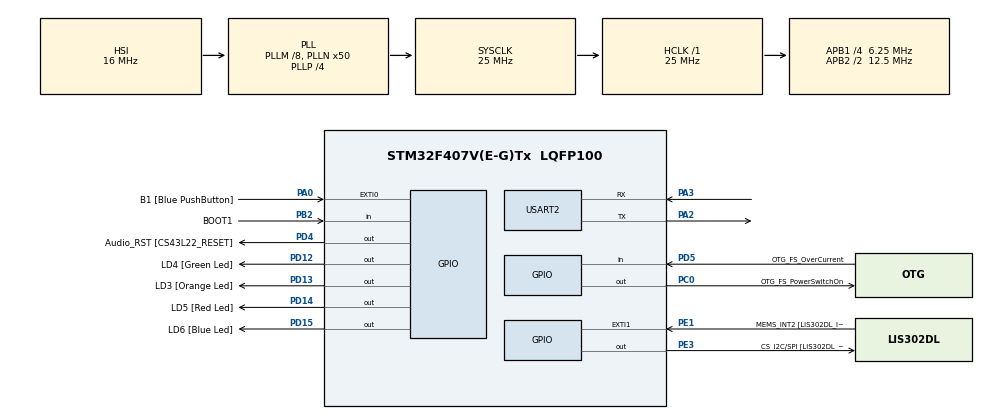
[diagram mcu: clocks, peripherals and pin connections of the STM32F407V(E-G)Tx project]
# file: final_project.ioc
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Mcu.Family=STM32F4
Mcu.Name=STM32F407V(E-G)Tx
Mcu.Package=LQFP100
NVIC.PriorityGroup=NVIC_PRIORITYGROUP_4
NVIC.TIM7_IRQn=true\:0\:0\:false\:false\:true\:false\:true\:true
NVIC.TimeBase=TIM7_IRQn
NVIC.TimeBaseIP=TIM7
PA0-WKUP.GPIO_Label=B1 [Blue PushButton]
PA0-WKUP.Signal=GPXTI0
PA10.GPIO_Label=OTG_FS_ID
PA10.GPIO_Mode=GPIO_MODE_AF_PP
PA10.GPIO_PuPd=GPIO_NOPULL
PA10.GPIO_Speed=GPIO_SPEED_FREQ_LOW
PA10.Signal=USB_OTG_FS_ID
PA11.GPIO_Label=OTG_FS_DM
PA11.GPIO_Mode=GPIO_MODE_AF_PP
PA11.GPIO_PuPd=GPIO_NOPULL
PA11.GPIO_Speed=GPIO_SPEED_FREQ_LOW
PA11.Signal=USB_OTG_FS_DM
PA12.GPIO_Label=OTG_FS_DP
PA12.GPIO_Mode=GPIO_MODE_AF_PP
PA12.GPIO_PuPd=GPIO_NOPULL
PA12.GPIO_Speed=GPIO_SPEED_FREQ_LOW
PA12.Signal=USB_OTG_FS_DP
PA13.GPIO_Label=SWDIO
PA13.Mode=Serial_Wire
PA13.Signal=SYS_JTMS-SWDIO
PA14.GPIO_Label=SWCLK
PA14.Mode=Serial_Wire
PA14.Signal=SYS_JTCK-SWCLK
PA2.Mode=Asynchronous
PA2.Signal=USART2_TX
PA3.Mode=Asynchronous
PA3.Signal=USART2_RX
PA4.GPIO_Label=I2S3_WS [CS43L22_LRCK]
PA4.GPIO_Mode=GPIO_MODE_AF_PP
PA4.GPIO_PuPd=GPIO_NOPULL
PA4.GPIO_Speed=GPIO_SPEED_FREQ_LOW
PA4.Signal=I2S3_WS
PA5.GPIO_Label=SPI1_SCK [LIS302DL_SCL/SPC]
PA5.GPIO_Mode=GPIO_MODE_AF_PP
PA5.GPIO_PuPd=GPIO_NOPULL
PA5.GPIO_Speed=GPIO_SPEED_FREQ_LOW
PA5.Signal=SPI1_SCK
PA6.GPIO_Label=SPI1_MISO [LIS302DL_SDO]
PA6.GPIO_Mode=GPIO_MODE_AF_PP
PA6.GPIO_PuPd=GPIO_NOPULL
PA6.GPIO_Speed=GPIO_SPEED_FREQ_LOW
PA6.Signal=SPI1_MISO
PA7.GPIO_Label=SPI1_MOSI [LIS302DL_SDA/SDI/SDO]
PA7.GPIO_Mode=GPIO_MODE_AF_PP
PA7.GPIO_PuPd=GPIO_NOPULL
PA7.GPIO_Speed=GPIO_SPEED_FREQ_LOW
PA7.Signal=SPI1_MOSI
PA9.GPIO_Label=VBUS_FS
PA9.GPIO_Mode=GPIO_MODE_INPUT
PA9.GPIO_PuPd=GPIO_NOPULL
PA9.Signal=USB_OTG_FS_VBUS
PB10.GPIO_Label=CLK_IN [MP45DT02_CLK]
PB10.GPIO_Mode=GPIO_MODE_AF_PP
PB10.GPIO_PuPd=GPIO_NOPULL
PB10.GPIO_Speed=GPIO_SPEED_FREQ_LOW
PB10.Signal=I2S2_CK
PB2.GPIO_Label=BOOT1
PB2.GPIO_Mode=GPIO_MODE_INPUT
PB2.GPIO_PuPd=GPIO_NOPULL
PB2.Signal=GPIO_Input
PB3.GPIO_Label=SWO
PB3.Signal=SYS_JTDO-SWO
PB6.GPIO_Label=Audio_SCL [CS43L22_SCL]
PB6.GPIO_Mode=GPIO_MODE_AF_OD
PB6.GPIO_PuPd=GPIO_NOPULL
PB6.GPIO_Speed=GPIO_SPEED_FREQ_LOW
PB6.Signal=I2C1_SCL
PB9.GPIO_Label=Audio_SDA [CS43L22_SDA]
PB9.GPIO_Mode=GPIO_MODE_AF_OD
PB9.GPIO_PuPd=GPIO_NOPULL
PB9.GPIO_Speed=GPIO_SPEED_FREQ_LOW
PB9.Signal=I2C1_SDA
PC0.GPIO_Label=OTG_FS_PowerSwitchOn
PC0.GPIO_PuPd=GPIO_NOPULL
PC0.GPIO_Speed=GPIO_SPEED_FREQ_LOW
PC0.PinState=GPIO_PIN_SET
PC0.Signal=GPIO_Output
PC10.GPIO_Label=I2S3_SCK [CS43L22_SCLK]
PC10.GPIO_Mode=GPIO_MODE_AF_PP
PC10.GPIO_PuPd=GPIO_NOPULL
PC10.GPIO_Speed=GPIO_SPEED_FREQ_LOW
PC10.Signal=I2S3_CK
PC12.GPIO_Label=I2S3_SD [CS43L22_SDIN]
PC12.GPIO_Mode=GPIO_MODE_AF_PP
PC12.GPIO_PuPd=GPIO_NOPULL
PC12.GPIO_Speed=GPIO_SPEED_FREQ_LOW
PC12.Signal=I2S3_SD
PC14-OSC32_IN.GPIO_Label=PC14-OSC32_IN
PC14-OSC32_IN.Signal=RCC_OSC32_IN
PC15-OSC32_OUT.GPIO_Label=PC15-OSC32_OUT
PC15-OSC32_OUT.Signal=RCC_OSC32_OUT
PC3.GPIO_Label=PDM_OUT [MP45DT02_DOUT]
PC3.GPIO_Mode=GPIO_MODE_AF_PP
PC3.GPIO_PuPd=GPIO_NOPULL
PC3.GPIO_Speed=GPIO_SPEED_FREQ_LOW
PC3.Signal=I2S2_SD
PC7.GPIO_Label=I2S3_MCK [CS43L22_MCLK]
PC7.GPIO_Mode=GPIO_MODE_AF_PP
PC7.GPIO_PuPd=GPIO_NOPULL
PC7.GPIO_Speed=GPIO_SPEED_FREQ_LOW
PC7.Signal=I2S3_MCK
PD12.GPIO_Label=LD4 [Green Led]
PD12.GPIO_PuPd=GPIO_NOPULL
PD12.GPIO_Speed=GPIO_SPEED_FREQ_LOW
PD12.Signal=GPIO_Output
PD13.GPIO_Label=LD3 [Orange Led]
PD13.GPIO_PuPd=GPIO_NOPULL
PD13.GPIO_Speed=GPIO_SPEED_FREQ_LOW
PD13.Signal=GPIO_Output
PD14.GPIO_Label=LD5 [Red Led]
PD14.GPIO_PuPd=GPIO_NOPULL
PD14.GPIO_Speed=GPIO_SPEED_FREQ_LOW
PD14.Signal=GPIO_Output
PD15.GPIO_Label=LD6 [Blue Led]
PD15.GPIO_PuPd=GPIO_NOPULL
PD15.GPIO_Speed=GPIO_SPEED_FREQ_LOW
PD15.Signal=GPIO_Output
PD4.GPIO_Label=Audio_RST [CS43L22_RESET]
PD4.GPIO_PuPd=GPIO_NOPULL
PD4.GPIO_Speed=GPIO_SPEED_FREQ_LOW
PD4.Signal=GPIO_Output
PD5.GPIO_Label=OTG_FS_OverCurrent
PD5.GPIO_Mode=GPIO_MODE_INPUT
PD5.GPIO_PuPd=GPIO_NOPULL
PD5.Signal=GPIO_Input
PE1.GPIO_Label=MEMS_INT2 [LIS302DL_INT2]
PE1.GPIO_ModeDefaultEXTI=GPIO_MODE_EVT_RISING
PE1.GPIO_PuPd=GPIO_NOPULL
PE1.Signal=GPXTI1
PE3.GPIO_Label=CS_I2C/SPI [LIS302DL_CS_I2C/SPI]
PE3.GPIO_PuPd=GPIO_NOPULL
PE3.GPIO_Speed=GPIO_SPEED_FREQ_LOW
PE3.Signal=GPIO_Output
PH0-OSC_IN.GPIO_Label=PH0-OSC_IN
PH0-OSC_IN.Signal=RCC_OSC_IN
PH1-OSC_OUT.GPIO_Label=PH1-OSC_OUT
PH1-OSC_OUT.Signal=RCC_OSC_OUT
ProjectManager.HeapSize=0x200
ProjectManager.StackSize=0x400
ProjectManager.TargetToolchain=STM32CubeIDE
RCC.48MHZClocksFreq_Value=14285714.285714285
RCC.AHBFreq_Value=25000000
RCC.APB1CLKDivider=RCC_HCLK_DIV4
RCC.APB1Freq_Value=6250000
RCC.APB1TimFreq_Value=12500000
RCC.APB2CLKDivider=RCC_HCLK_DIV2
RCC.APB2Freq_Value=12500000
RCC.APB2TimFreq_Value=25000000
RCC.CortexFreq_Value=25000000
RCC.HCLKFreq_Value=25000000
RCC.HSE_VALUE=8000000
RCC.HSI_VALUE=16000000
RCC.LSE_VALUE=32768
RCC.PLLM=8
RCC.PLLN=50
RCC.PLLP=RCC_PLLP_DIV4
RCC.PLLQ=7
RCC.SYSCLKFreq_VALUE=25000000
RCC.SYSCLKSource=RCC_SYSCLKSOURCE_PLLCLK
RCC.VCOOutputFreq_Value=100000000
USART2.VirtualMode=VM_ASYNC
VP_SYS_VS_tim7.Mode=TIM7
board=STM32F407G-DISC1

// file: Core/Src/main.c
/* USER CODE BEGIN Header */
/**
  ******************************************************************************
  * @file           : main.c
  * @brief          : Main program body
  ******************************************************************************
  * @attention
  *
  * Copyright (c) 2025 STMicroelectronics.
  * All rights reserved.
  *
  * This software is licensed under terms that can be found in the LICENSE file
  * in the root directory of this software component.
  * If no LICENSE file comes with this software, it is provided AS-IS.
  *
  ******************************************************************************
  */
/* USER CODE END Header */
#include "main.h"

/* USER CODE BEGIN Includes */
#include "shell_task.h"

#include <string.h>
#include <stdio.h>

#include "FreeRTOS.h"
#include "task.h"
#include "queue.h"
/* USER CODE END Includes */

UART_HandleTypeDef huart2;

/* USER CODE BEGIN PV */
uint32_t g_osRuntimeCounter;
/* USER CODE END PV */

void SystemClock_Config(void);
static void MX_GPIO_Init(void);
static void MX_USART2_UART_Init(void);

/* USER CODE BEGIN 0 */

// UART TEST BEGIN
//char rx_byte;

//void UART_TestInit(void)
//{
//	const char* msg = "UART Initialized\r\n";
//	HAL_UART_Transmit(&huart2, (uint8_t*)msg, strlen(msg), HAL_MAX_DELAY);
//}
// UART TEST END

void AppTimerStatsInit(void) {
	g_osRuntimeCounter = 0;
}

uint32_t AppTimerStatsValue(void) {
	 return g_osRuntimeCounter;
}

void USART_ReceiveTask(void *argument)
{
	char input_buffer[100];
	uint8_t index = 0;
	char ch;

	while (1)
	{
	    // 等待接收一個字元（阻塞）
	    if (HAL_UART_Receive(&huart2, (uint8_t*)&ch, 1, HAL_MAX_DELAY) == HAL_OK)
	    {
	        // 回顯字元
	        HAL_UART_Transmit(&huart2, (uint8_t*)&ch, 1, HAL_MAX_DELAY);

	        if (ch == '\r' || ch == '\n')  // 收到 Enter
	        {
	            input_buffer[index] = '\0';  // 結束字串

	            // 輸出你輸入的內容
	            const char* prompt = "\r\nYou typed: ";
	            HAL_UART_Transmit(&huart2, (uint8_t*)prompt, strlen(prompt), HAL_MAX_DELAY);
	            HAL_UART_Transmit(&huart2, (uint8_t*)input_buffer, index, HAL_MAX_DELAY);
	            HAL_UART_Transmit(&huart2, (uint8_t*)"\r\n\r\n", 4, HAL_MAX_DELAY);

	            index = 0;  // 清空輸入緩衝區
	        }
	        else if (index < sizeof(input_buffer) - 1)
	        {
	            input_buffer[index++] = ch;
	        }
	        else
	        {
	            // 緩衝區滿，回報錯誤並重設
	            const char* err = "\r\n[Error] Line too long!\r\n";
	            HAL_UART_Transmit(&huart2, (uint8_t*)err, strlen(err), HAL_MAX_DELAY);
	            index = 0;
	        }
	    }

	    vTaskDelay(100); // 避免壓迫 scheduler
	}
}

BaseType_t xReturned;
TaskHandle_t xHandle=NULL;

void LED_Task( void ){
	HAL_GPIO_WritePin(GPIOD, GPIO_PIN_12 | GPIO_PIN_13 | GPIO_PIN_14 | GPIO_PIN_15, GPIO_PIN_RESET);
	for(;;){

		HAL_GPIO_WritePin(GPIOD, GPIO_PIN_12, GPIO_PIN_SET );
		vTaskDelay(500);
		HAL_GPIO_WritePin(GPIOD, GPIO_PIN_12, GPIO_PIN_RESET );
		vTaskDelay(500);
	}
}
/* USER CODE END 0 */

int main(void)
{

  /* MCU Configuration--------------------------------------------------------*/

  /* Reset of all peripherals, Initializes the Flash interface and the Systick. */
  HAL_Init();

  /* Configure the system clock */
  SystemClock_Config();

  /* Initialize all configured peripherals */
  MX_GPIO_Init();
  MX_USART2_UART_Init();
  /* USER CODE BEGIN 2 */
  //xTaskCreate(LED_Task, "LED", 128, NULL, 3, NULL);

  // 重要！！在創建task時請依照下方格式將task的創見細節存入task table(直接call RegisterUserTask())，否則mem抓不到
//  TaskHandle_t hLed;
//  if (xTaskCreate(LED_Task, "LED", 128, NULL, 3, &hLed) == pdPASS){
//      RegisterUserTask(hLed, "LED", 128);
//  }

  TaskHandle_t hShell;
  if(xTaskCreate(ShellTask, "ShellTask", 4096, NULL, 2, &hShell) == pdPASS){
	  RegisterUserTask(hShell, "ShellTask", 4096);
  }

  xLogQueue = xQueueCreate(16, sizeof(LogMsg_t));

  TaskHandle_t hLogger;
  if(xTaskCreate(LoggerTask, "Logger", 256, NULL, 2, &hLogger) == pdPASS){
	  RegisterUserTask(hLogger, "Logger", 256);
  }

  vTaskStartScheduler();
  /* USER CODE END 2 */

  /* Infinite loop */
  while (1)
  {

  }
}

void SystemClock_Config(void)
{
  RCC_OscInitTypeDef RCC_OscInitStruct = {0};
  RCC_ClkInitTypeDef RCC_ClkInitStruct = {0};

  /** Configure the main internal regulator output voltage
  */
  __HAL_RCC_PWR_CLK_ENABLE();
  __HAL_PWR_VOLTAGESCALING_CONFIG(PWR_REGULATOR_VOLTAGE_SCALE1);

  /** Initializes the RCC Oscillators according to the specified parameters
  * in the RCC_OscInitTypeDef structure.
  */
  RCC_OscInitStruct.OscillatorType = RCC_OSCILLATORTYPE_HSI;
  RCC_OscInitStruct.HSIState = RCC_HSI_ON;
  RCC_OscInitStruct.HSICalibrationValue = RCC_HSICALIBRATION_DEFAULT;
  RCC_OscInitStruct.PLL.PLLState = RCC_PLL_ON;
  RCC_OscInitStruct.PLL.PLLSource = RCC_PLLSOURCE_HSI;
  RCC_OscInitStruct.PLL.PLLM = 8;
  RCC_OscInitStruct.PLL.PLLN = 50;
  RCC_OscInitStruct.PLL.PLLP = RCC_PLLP_DIV4;
  RCC_OscInitStruct.PLL.PLLQ = 7;
  if (HAL_RCC_OscConfig(&RCC_OscInitStruct) != HAL_OK)
  {
    Error_Handler();
  }

  /** Initializes the CPU, AHB and APB buses clocks
  */
  RCC_ClkInitStruct.ClockType = RCC_CLOCKTYPE_HCLK|RCC_CLOCKTYPE_SYSCLK
                              |RCC_CLOCKTYPE_PCLK1|RCC_CLOCKTYPE_PCLK2;
  RCC_ClkInitStruct.SYSCLKSource = RCC_SYSCLKSOURCE_PLLCLK;
  RCC_ClkInitStruct.AHBCLKDivider = RCC_SYSCLK_DIV1;
  RCC_ClkInitStruct.APB1CLKDivider = RCC_HCLK_DIV4;
  RCC_ClkInitStruct.APB2CLKDivider = RCC_HCLK_DIV2;

  if (HAL_RCC_ClockConfig(&RCC_ClkInitStruct, FLASH_LATENCY_0) != HAL_OK)
  {
    Error_Handler();
  }
}

static void MX_USART2_UART_Init(void)
{

  huart2.Instance = USART2;
  huart2.Init.BaudRate = 115200;
  huart2.Init.WordLength = UART_WORDLENGTH_8B;
  huart2.Init.StopBits = UART_STOPBITS_1;
  huart2.Init.Parity = UART_PARITY_NONE;
  huart2.Init.Mode = UART_MODE_TX_RX;
  huart2.Init.HwFlowCtl = UART_HWCONTROL_NONE;
  huart2.Init.OverSampling = UART_OVERSAMPLING_16;
  if (HAL_UART_Init(&huart2) != HAL_OK)
  {
    Error_Handler();
  }

}

static void MX_GPIO_Init(void)
{
  GPIO_InitTypeDef GPIO_InitStruct = {0};

  /* GPIO Ports Clock Enable */
  __HAL_RCC_GPIOE_CLK_ENABLE();
  __HAL_RCC_GPIOC_CLK_ENABLE();
  __HAL_RCC_GPIOH_CLK_ENABLE();
  __HAL_RCC_GPIOA_CLK_ENABLE();
  __HAL_RCC_GPIOB_CLK_ENABLE();
  __HAL_RCC_GPIOD_CLK_ENABLE();

  /*Configure GPIO pin Output Level */
  HAL_GPIO_WritePin(CS_I2C_SPI_GPIO_Port, CS_I2C_SPI_Pin, GPIO_PIN_RESET);

  /*Configure GPIO pin Output Level */
  HAL_GPIO_WritePin(OTG_FS_PowerSwitchOn_GPIO_Port, OTG_FS_PowerSwitchOn_Pin, GPIO_PIN_SET);

  /*Configure GPIO pin Output Level */
  HAL_GPIO_WritePin(GPIOD, LD4_Pin|LD3_Pin|LD5_Pin|LD6_Pin
                          |Audio_RST_Pin, GPIO_PIN_RESET);

  /*Configure GPIO pin : CS_I2C_SPI_Pin */
  GPIO_InitStruct.Pin = CS_I2C_SPI_Pin;
  GPIO_InitStruct.Mode = GPIO_MODE_OUTPUT_PP;
  GPIO_InitStruct.Pull = GPIO_NOPULL;
  GPIO_InitStruct.Speed = GPIO_SPEED_FREQ_LOW;
  HAL_GPIO_Init(CS_I2C_SPI_GPIO_Port, &GPIO_InitStruct);

  /*Configure GPIO pin : OTG_FS_PowerSwitchOn_Pin */
  GPIO_InitStruct.Pin = OTG_FS_PowerSwitchOn_Pin;
  GPIO_InitStruct.Mode = GPIO_MODE_OUTPUT_PP;
  GPIO_InitStruct.Pull = GPIO_NOPULL;
  GPIO_InitStruct.Speed = GPIO_SPEED_FREQ_LOW;
  HAL_GPIO_Init(OTG_FS_PowerSwitchOn_GPIO_Port, &GPIO_InitStruct);

  /*Configure GPIO pin : PDM_OUT_Pin */
  GPIO_InitStruct.Pin = PDM_OUT_Pin;
  GPIO_InitStruct.Mode = GPIO_MODE_AF_PP;
  GPIO_InitStruct.Pull = GPIO_NOPULL;
  GPIO_InitStruct.Speed = GPIO_SPEED_FREQ_LOW;
  GPIO_InitStruct.Alternate = GPIO_AF5_SPI2;
  HAL_GPIO_Init(PDM_OUT_GPIO_Port, &GPIO_InitStruct);

  /*Configure GPIO pin : B1_Pin */
  GPIO_InitStruct.Pin = B1_Pin;
  GPIO_InitStruct.Mode = GPIO_MODE_IT_RISING;
  GPIO_InitStruct.Pull = GPIO_NOPULL;
  HAL_GPIO_Init(B1_GPIO_Port, &GPIO_InitStruct);

  /*Configure GPIO pin : I2S3_WS_Pin */
  GPIO_InitStruct.Pin = I2S3_WS_Pin;
  GPIO_InitStruct.Mode = GPIO_MODE_AF_PP;
  GPIO_InitStruct.Pull = GPIO_NOPULL;
  GPIO_InitStruct.Speed = GPIO_SPEED_FREQ_LOW;
  GPIO_InitStruct.Alternate = GPIO_AF6_SPI3;
  HAL_GPIO_Init(I2S3_WS_GPIO_Port, &GPIO_InitStruct);

  /*Configure GPIO pins : SPI1_SCK_Pin SPI1_MISO_Pin SPI1_MOSI_Pin */
  GPIO_InitStruct.Pin = SPI1_SCK_Pin|SPI1_MISO_Pin|SPI1_MOSI_Pin;
  GPIO_InitStruct.Mode = GPIO_MODE_AF_PP;
  GPIO_InitStruct.Pull = GPIO_NOPULL;
  GPIO_InitStruct.Speed = GPIO_SPEED_FREQ_LOW;
  GPIO_InitStruct.Alternate = GPIO_AF5_SPI1;
  HAL_GPIO_Init(GPIOA, &GPIO_InitStruct);

  /*Configure GPIO pin : BOOT1_Pin */
  GPIO_InitStruct.Pin = BOOT1_Pin;
  GPIO_InitStruct.Mode = GPIO_MODE_INPUT;
  GPIO_InitStruct.Pull = GPIO_NOPULL;
  HAL_GPIO_Init(BOOT1_GPIO_Port, &GPIO_InitStruct);

  /*Configure GPIO pin : CLK_IN_Pin */
  GPIO_InitStruct.Pin = CLK_IN_Pin;
  GPIO_InitStruct.Mode = GPIO_MODE_AF_PP;
  GPIO_InitStruct.Pull = GPIO_NOPULL;
  GPIO_InitStruct.Speed = GPIO_SPEED_FREQ_LOW;
  GPIO_InitStruct.Alternate = GPIO_AF5_SPI2;
  HAL_GPIO_Init(CLK_IN_GPIO_Port, &GPIO_InitStruct);

  /*Configure GPIO pins : LD4_Pin LD3_Pin LD5_Pin LD6_Pin
                           Audio_RST_Pin */
  GPIO_InitStruct.Pin = LD4_Pin|LD3_Pin|LD5_Pin|LD6_Pin
                          |Audio_RST_Pin;
  GPIO_InitStruct.Mode = GPIO_MODE_OUTPUT_PP;
  GPIO_InitStruct.Pull = GPIO_NOPULL;
  GPIO_InitStruct.Speed = GPIO_SPEED_FREQ_LOW;
  HAL_GPIO_Init(GPIOD, &GPIO_InitStruct);

  /*Configure GPIO pins : I2S3_MCK_Pin I2S3_SCK_Pin I2S3_SD_Pin */
  GPIO_InitStruct.Pin = I2S3_MCK_Pin|I2S3_SCK_Pin|I2S3_SD_Pin;
  GPIO_InitStruct.Mode = GPIO_MODE_AF_PP;
  GPIO_InitStruct.Pull = GPIO_NOPULL;
  GPIO_InitStruct.Speed = GPIO_SPEED_FREQ_LOW;
  GPIO_InitStruct.Alternate = GPIO_AF6_SPI3;
  HAL_GPIO_Init(GPIOC, &GPIO_InitStruct);

  /*Configure GPIO pin : VBUS_FS_Pin */
  GPIO_InitStruct.Pin = VBUS_FS_Pin;
  GPIO_InitStruct.Mode = GPIO_MODE_INPUT;
  GPIO_InitStruct.Pull = GPIO_NOPULL;
  HAL_GPIO_Init(VBUS_FS_GPIO_Port, &GPIO_InitStruct);

  /*Configure GPIO pins : OTG_FS_ID_Pin OTG_FS_DM_Pin OTG_FS_DP_Pin */
  GPIO_InitStruct.Pin = OTG_FS_ID_Pin|OTG_FS_DM_Pin|OTG_FS_DP_Pin;
  GPIO_InitStruct.Mode = GPIO_MODE_AF_PP;
  GPIO_InitStruct.Pull = GPIO_NOPULL;
  GPIO_InitStruct.Speed = GPIO_SPEED_FREQ_LOW;
  GPIO_InitStruct.Alternate = GPIO_AF10_OTG_FS;
  HAL_GPIO_Init(GPIOA, &GPIO_InitStruct);

  /*Configure GPIO pin : OTG_FS_OverCurrent_Pin */
  GPIO_InitStruct.Pin = OTG_FS_OverCurrent_Pin;
  GPIO_InitStruct.Mode = GPIO_MODE_INPUT;
  GPIO_InitStruct.Pull = GPIO_NOPULL;
  HAL_GPIO_Init(OTG_FS_OverCurrent_GPIO_Port, &GPIO_InitStruct);

  /*Configure GPIO pins : Audio_SCL_Pin Audio_SDA_Pin */
  GPIO_InitStruct.Pin = Audio_SCL_Pin|Audio_SDA_Pin;
  GPIO_InitStruct.Mode = GPIO_MODE_AF_OD;
  GPIO_InitStruct.Pull = GPIO_NOPULL;
  GPIO_InitStruct.Speed = GPIO_SPEED_FREQ_LOW;
  GPIO_InitStruct.Alternate = GPIO_AF4_I2C1;
  HAL_GPIO_Init(GPIOB, &GPIO_InitStruct);

  /*Configure GPIO pin : MEMS_INT2_Pin */
  GPIO_InitStruct.Pin = MEMS_INT2_Pin;
  GPIO_InitStruct.Mode = GPIO_MODE_EVT_RISING;
  GPIO_InitStruct.Pull = GPIO_NOPULL;
  HAL_GPIO_Init(MEMS_INT2_GPIO_Port, &GPIO_InitStruct);

}

void HAL_TIM_PeriodElapsedCallback(TIM_HandleTypeDef *htim)
{
  if (htim->Instance == TIM7) {
    HAL_IncTick();
  }
  /* USER CODE BEGIN Callback 1 */
  if (htim->Instance == TIM7) {
	g_osRuntimeCounter++;
  }
  /* USER CODE END Callback 1 */
}

void Error_Handler(void)
{
  __disable_irq();
  while (1)
  {
  }
}
